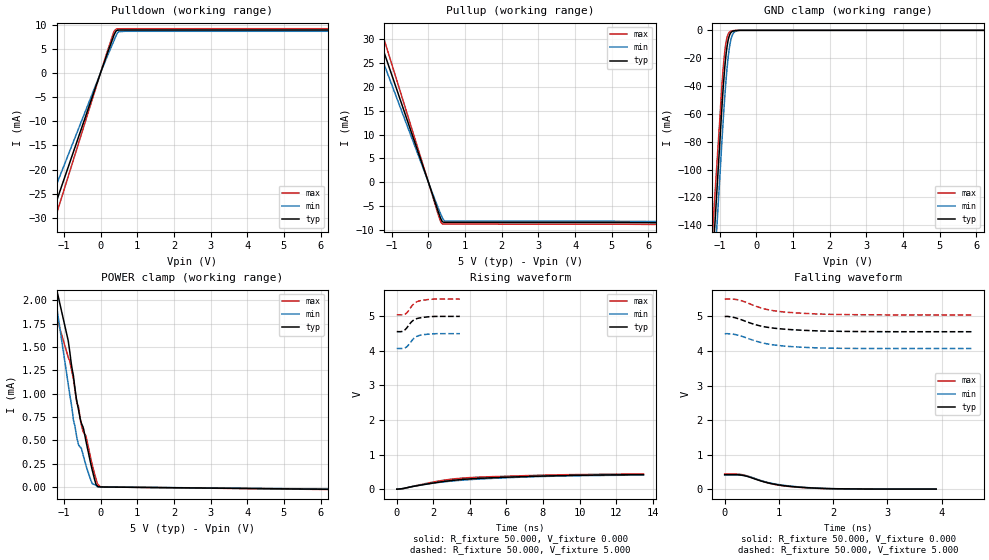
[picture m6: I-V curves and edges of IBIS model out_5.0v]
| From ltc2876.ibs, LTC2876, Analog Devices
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[Model]   out_5.0v
Model_type 3-state
Vref=0.000E+00
Rref=1.000E+06
Cref=0.000E+00
Vmeas=2.500E+00
C_comp   9.080E-13   8.810E-13   9.350E-13
[Voltage Range]   5.000E+00   4.500E+00   5.500E+00
[POWER Clamp Reference]   5.000E+00   4.500E+00   5.500E+00
[GND Clamp Reference]   0.000E+00   0.000E+00   0.000E+00
[Pullup Reference]   5.000E+00   4.500E+00   5.500E+00
[Pulldown Reference]   0.000E+00   0.000E+00   0.000E+00
[Temperature Range]   25   125   -40
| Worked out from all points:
|   slope of the pulldown table from 0 to 0.75 V, typ, clamps not added: 84.6 ohm
|   slope of the pullup table from 0 to 0.75 V, typ, clamps not added: 89.8 ohm
|   GND clamp passes 1 mA (typ) near -0.67 V on its own axis
|   POWER clamp passes 1 mA (typ) near -0.68 V on its own axis
|   rising waveform, R_fixture 50.000, V_fixture 0.000: 20-80 % time 4.5ns typ, 4.86ns min, 3.7ns max; typ from 0 V to 0.419 V
|   falling waveform, R_fixture 50.000, V_fixture 0.000: 20-80 % time 694ps typ, 735ps min, 648ps max; typ from 0.422 V to 0.003 V
|   rising waveform, R_fixture 50.000, V_fixture 5.000: 20-80 % time 473ps typ, 457ps min, 447ps max; typ from 4.56 V to 5 V
|   falling waveform, R_fixture 50.000, V_fixture 5.000: 20-80 % time 703ps typ, 669ps min, 663ps max; typ from 5 V to 4.56 V
[GND Clamp]
-5V       -1.828A    -1.889A    -1.708A
-1.02V    -90.57mA   -115.8mA   -72.92mA
-920mV    -47.23mA   -71.31mA   -32.31mA
-880mV    -32.52mA   -54.84mA   -19.81mA
-860mV    -26.18mA   -47.2mA    -14.83mA
-820mV    -15.77mA   -33.41mA   -7.532mA
-780mV    -8.473mA   -21.97mA   -3.415mA
-740mV    -4.082mA   -13.25mA   -1.488mA
-680mV    -1.255mA   -5.227mA   -446.1uA
-600mV    -311uA     -1.224mA   -170.7uA
-440mV    0A         0A         0A
10V       0A         0A         0A
[Power Clamp]
-5V       8.751mA    11.95mA    6.958mA
-880mV    1.564mA    1.099mA    1.389mA
-740mV    1.193mA    720.2uA    1.158mA
-660mV    950.3uA    559.7uA    929.9uA
-600mV    826uA      452.9uA    858.2uA
-520mV    680.5uA    409.9uA    658.2uA
-400mV    496.2uA    235.2uA    548.6uA
-240mV    203.8uA    49.56uA    260.2uA
-120mV    23.95uA    15.53uA    81.87uA
-80mV     6.201uA    0A         32.08uA
0V        0A         0A         0A
10V       -40uA      -36uA      -44uA
[Pullup]
-5V       112.3mA    102.1mA    123.6mA
-1.02V    22.91mA    20.82mA    25.21mA
280mV     -6.439mA   -5.638mA   -7.054mA
340mV     -7.671mA   -6.732mA   -8.302mA
380mV     -8.203mA   -7.418mA   -8.677mA
420mV     -8.343mA   -7.92mA    -8.722mA
480mV     -8.347mA   -8.091mA   -8.722mA
5.32V     -8.395mA   -8.149mA   -8.756mA
10V       -8.664mA   -8.332mA   -9.037mA
[Pulldown]
-5V       -110.4mA   -96.18mA   -121.4mA
-1.02V    -22.53mA   -19.62mA   -24.77mA
160mV     3.483mA    2.99mA     3.856mA
360mV     7.659mA    6.559mA    8.427mA
420mV     8.607mA    7.629mA    9.023mA
460mV     8.805mA    8.221mA    9.101mA
500mV     8.853mA    8.501mA    9.117mA
660mV     8.867mA    8.601mA    9.124mA
10V       8.869mA    8.601mA    9.134mA
[Rising Waveform]
R_fixture = 50.000
V_fixture = 0.000
V_fixture_min = 0.000
V_fixture_max = 0.000
|  time   V(typ)   V(min)   V(max)
0s        478.8uV    418.7uV    548.7uV
400ps     25.93mV    23.23mV    20.84mV
1.2ns     107.5mV    112.1mV    119.9mV
2.45ns    214.1mV    204.2mV    249.6mV
3.15ns    259.9mV    241.9mV    299.1mV
3.9ns     294.4mV    272.9mV    332mV
5.65ns    339.6mV    322.9mV    369.2mV
7.9ns     378.5mV    366.3mV    403.9mV
10.45ns   405.3mV    392.9mV    426.9mV
13.5ns    419.2mV    406.1mV    438.7mV
[Falling Waveform]
R_fixture = 50.000
V_fixture = 0.000
V_fixture_min = 0.000
V_fixture_max = 0.000
|  time   V(typ)   V(min)   V(max)
0s        421.5mV    406.1mV    438.7mV
200ps     421.1mV    408.7mV    438.1mV
350ps     396.2mV    396mV      411.7mV
450ps     353.8mV    363.6mV    366.7mV
650ps     246.6mV    258.4mV    252.8mV
850ps     164.9mV    174.8mV    161.6mV
1.05ns    110.2mV    121.3mV    103.2mV
1.35ns    61.03mV    68.31mV    55.9mV
2.05ns    13.48mV    12.38mV    9.447mV
3.9ns     2.793mV    418.7uV    548.7uV
[Rising Waveform]
R_fixture = 50.000
V_fixture = 5.000
V_fixture_min = 4.500
V_fixture_max = 5.500
|  time   V(typ)   V(min)   V(max)
0s        4.558V     4.072V     5.045V
300ps     4.565V     4.071V     5.044V
450ps     4.611V     4.088V     5.064V
600ps     4.704V     4.148V     5.135V
750ps     4.808V     4.247V     5.247V
850ps     4.863V     4.315V     5.317V
1.05ns    4.927V     4.408V     5.41V
1.25ns    4.955V     4.45V      5.45V
2ns       4.997V     4.496V     5.498V
3.45ns    5V         4.5V       5.5V
[Falling Waveform]
R_fixture = 50.000
V_fixture = 5.000
V_fixture_min = 4.500
V_fixture_max = 5.500
|  time   V(typ)   V(min)   V(max)
0s        5V         4.5V       5.5V
150ps     4.978V     4.488V     5.501V
250ps     4.936V     4.457V     5.481V
550ps     4.771V     4.299V     5.311V
750ps     4.697V     4.217V     5.213V
1ns       4.646V     4.159V     5.146V
1.3ns     4.612V     4.12V      5.106V
1.75ns    4.581V     4.089V     5.07V
2.3ns     4.566V     4.076V     5.053V
4.55ns    4.558V     4.072V     5.045V
[Ramp]
dV/dt_r   2.5123E-01/4.4948E-09   2.4252E-01/4.8538E-09   2.6132E-01/3.7005E-09
dV/dt_f   2.6503E-01/7.0271E-10   2.5695E-01/6.6804E-10   2.7287E-01/6.6248E-10
R_load = 50
